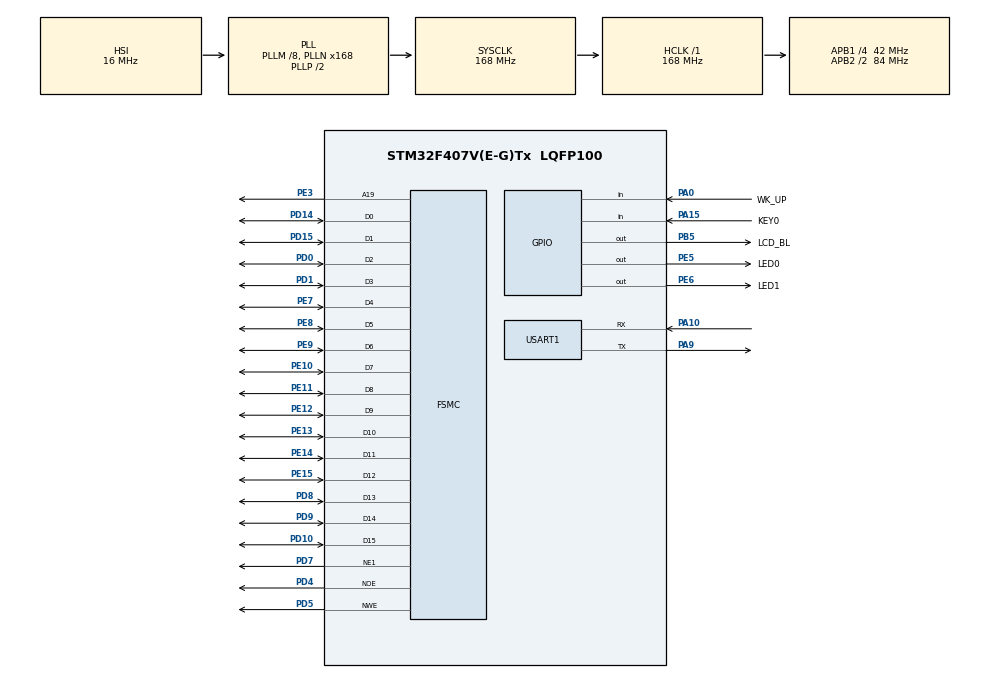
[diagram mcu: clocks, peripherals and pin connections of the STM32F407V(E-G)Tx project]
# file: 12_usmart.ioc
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FSMC.AddressSetupTime1=15
FSMC.BusTurnAroundDuration1=0
FSMC.DataSetupTime1=60
FSMC.ExtendedAddressSetupTime1=9
FSMC.ExtendedDataSetupTime1=9
FSMC.ExtendedMode1=FSMC_EXTENDED_MODE_ENABLE
Mcu.Family=STM32F4
Mcu.Name=STM32F407V(E-G)Tx
Mcu.Package=LQFP100
NVIC.PriorityGroup=NVIC_PRIORITYGROUP_2
NVIC.TIM4_IRQn=true\:2\:1\:true\:false\:true\:true\:true\:true
NVIC.USART1_IRQn=true\:2\:2\:true\:false\:true\:true\:true\:true
PA0-WKUP.GPIO_Label=WK_UP
PA0-WKUP.GPIO_PuPd=GPIO_PULLDOWN
PA0-WKUP.Signal=GPIO_Input
PA10.Mode=Asynchronous
PA10.Signal=USART1_RX
PA13.Mode=Serial_Wire
PA13.Signal=SYS_JTMS-SWDIO
PA14.Mode=Serial_Wire
PA14.Signal=SYS_JTCK-SWCLK
PA15.GPIO_Label=KEY0
PA15.GPIO_PuPd=GPIO_PULLDOWN
PA15.Signal=GPIO_Input
PA9.Mode=Asynchronous
PA9.Signal=USART1_TX
PB5.GPIO_Label=LCD_BL
PB5.GPIO_PuPd=GPIO_PULLUP
PB5.GPIO_Speed=GPIO_SPEED_FREQ_HIGH
PB5.PinState=GPIO_PIN_SET
PB5.Signal=GPIO_Output
PC14-OSC32_IN.Mode=LSE-External-Oscillator
PC14-OSC32_IN.Signal=RCC_OSC32_IN
PC15-OSC32_OUT.Mode=LSE-External-Oscillator
PC15-OSC32_OUT.Signal=RCC_OSC32_OUT
PD0.Mode=16b-d1
PD0.Signal=FSMC_D2
PD1.Mode=16b-d1
PD1.Signal=FSMC_D3
PD10.Mode=16b-d1
PD10.Signal=FSMC_D15
PD14.Mode=16b-d1
PD14.Signal=FSMC_D0
PD15.Mode=16b-d1
PD15.Signal=FSMC_D1
PD4.Mode=Lcd1
PD4.Signal=FSMC_NOE
PD5.Mode=Lcd1
PD5.Signal=FSMC_NWE
PD7.Mode=NorPsramChipSelect1_1
PD7.Signal=FSMC_NE1
PD8.Mode=16b-d1
PD8.Signal=FSMC_D13
PD9.Mode=16b-d1
PD9.Signal=FSMC_D14
PE10.Mode=16b-d1
PE10.Signal=FSMC_D7
PE11.Mode=16b-d1
PE11.Signal=FSMC_D8
PE12.Mode=16b-d1
PE12.Signal=FSMC_D9
PE13.Mode=16b-d1
PE13.Signal=FSMC_D10
PE14.Mode=16b-d1
PE14.Signal=FSMC_D11
PE15.Mode=16b-d1
PE15.Signal=FSMC_D12
PE3.Mode=A19_1
PE3.Signal=FSMC_A19
PE5.GPIO_Label=LED0
PE5.GPIO_PuPd=GPIO_PULLUP
PE5.GPIO_Speed=GPIO_SPEED_FREQ_HIGH
PE5.PinState=GPIO_PIN_SET
PE5.Signal=GPIO_Output
PE6.GPIO_Label=LED1
PE6.GPIO_PuPd=GPIO_PULLUP
PE6.GPIO_Speed=GPIO_SPEED_FREQ_HIGH
PE6.PinState=GPIO_PIN_SET
PE6.Signal=GPIO_Output
PE7.Mode=16b-d1
PE7.Signal=FSMC_D4
PE8.Mode=16b-d1
PE8.Signal=FSMC_D5
PE9.Mode=16b-d1
PE9.Signal=FSMC_D6
PH0-OSC_IN.Mode=HSE-External-Oscillator
PH0-OSC_IN.Signal=RCC_OSC_IN
PH1-OSC_OUT.Mode=HSE-External-Oscillator
PH1-OSC_OUT.Signal=RCC_OSC_OUT
ProjectManager.HeapSize=0x200
ProjectManager.StackSize=0x400
ProjectManager.TargetToolchain=STM32CubeIDE
RCC.48MHZClocksFreq_Value=84000000
RCC.AHBFreq_Value=168000000
RCC.APB1CLKDivider=RCC_HCLK_DIV4
RCC.APB1Freq_Value=42000000
RCC.APB1TimFreq_Value=84000000
RCC.APB2CLKDivider=RCC_HCLK_DIV2
RCC.APB2Freq_Value=84000000
RCC.APB2TimFreq_Value=168000000
RCC.CortexFreq_Value=168000000
RCC.HCLKFreq_Value=168000000
RCC.HSE_VALUE=25000000
RCC.HSI_VALUE=16000000
RCC.PLLM=8
RCC.PLLN=168
RCC.SYSCLKFreq_VALUE=168000000
RCC.SYSCLKSource=RCC_SYSCLKSOURCE_PLLCLK
RCC.VCOOutputFreq_Value=336000000
TIM4.AutoReloadPreload=TIM_AUTORELOAD_PRELOAD_ENABLE
TIM4.Period=1000
TIM4.Prescaler=8400-1
USART1.VirtualMode=VM_ASYNC
VP_TIM4_VS_ClockSourceINT.Mode=Internal
board=custom

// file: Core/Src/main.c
/**
 ****************************************************************************************************
 * @file        main.c
 * @author      ALIENTEK
 * @brief       usmart code
 * @license     Copyright (C) 2012-2024, ALIENTEK
 ****************************************************************************************************
 * @attention
 *
 * platform     : ALIENTEK M100-STM32F407 board
 * website      : www.alientek.com
 * forum        : www.openedv.com/forum.php
 *
 * change logs  :
 * version      data         notes
 * V1.0         20240409     the first version
 *
 ****************************************************************************************************
 */

/* USER CODE BEGIN Header */

/* USER CODE END Header */
#include "main.h"
#include "tim.h"
#include "usart.h"
#include "gpio.h"
#include "fsmc.h"

/* USER CODE BEGIN Includes */
#include "../../ATK_Middlewares/USMART/usmart.h"
#include "../../BSP/LED/led.h"
#include "../../BSP/KEY/key.h"
#include "../../BSP/LCD/lcd.h"
/* USER CODE END Includes */

/* USER CODE BEGIN PTD */
/* LED state setting function */
void led_set(uint8_t sta)
{
    LED1(sta);
}

/* Function arguments call the test function */
void test_fun(void(*ledset)(uint8_t), uint8_t sta)
{
    ledset(sta);
}
/* USER CODE END PTD */

/* USER CODE BEGIN PD */
/**
 * @brief   Displays information about the experiment
 * @param   None
 * @retval  None
 */
void stm32f407vg_show_mesg(void)
{
	/* The serial port outputs the experimental information */
	printf("\n");
	printf("********************************\r\n");
	printf("STM32F407\r\n");
	printf("USMART Test\r\n");
	printf("ATOM@ALIENTEK\r\n");
	printf("********************************\r\n");
	printf("\r\n");
}
/* USER CODE END PD */

void SystemClock_Config(void);

int main(void)
{

  /* MCU Configuration--------------------------------------------------------*/

  /* Reset of all peripherals, Initializes the Flash interface and the Systick. */
  HAL_Init();

  /* Configure the system clock */
  SystemClock_Config();

  /* Initialize all configured peripherals */
  MX_GPIO_Init();
  MX_USART1_UART_Init();
  MX_FSMC_Init();
  MX_TIM4_Init();
  /* USER CODE BEGIN 2 */
  lcd_init();                                         /* Initialize LCD */
  stm32f407vg_show_mesg();
  lcd_show_string(30, 50, 200, 16, 16, "STM32", RED);
  lcd_show_string(30, 70, 200, 16, 16, "USMART TEST", RED);
  lcd_show_string(30, 90, 200, 16, 16, "ATOM@ALIENTEK", RED);
  /* USER CODE END 2 */

  /* Infinite loop */
  /* USER CODE BEGIN WHILE */
  while (1)
  {
	LED0_TOGGLE();             /* flashing LED0 indicates that the system is running */
	HAL_Delay(1000);   		 /* delay 1000ms */
    /* USER CODE END WHILE */

  }
}

void SystemClock_Config(void)
{
  RCC_OscInitTypeDef RCC_OscInitStruct = {0};
  RCC_ClkInitTypeDef RCC_ClkInitStruct = {0};

  /** Configure the main internal regulator output voltage
  */
  __HAL_RCC_PWR_CLK_ENABLE();
  __HAL_PWR_VOLTAGESCALING_CONFIG(PWR_REGULATOR_VOLTAGE_SCALE1);

  /** Initializes the RCC Oscillators according to the specified parameters
  * in the RCC_OscInitTypeDef structure.
  */
  RCC_OscInitStruct.OscillatorType = RCC_OSCILLATORTYPE_HSI;
  RCC_OscInitStruct.HSIState = RCC_HSI_ON;
  RCC_OscInitStruct.HSICalibrationValue = RCC_HSICALIBRATION_DEFAULT;
  RCC_OscInitStruct.PLL.PLLState = RCC_PLL_ON;
  RCC_OscInitStruct.PLL.PLLSource = RCC_PLLSOURCE_HSI;
  RCC_OscInitStruct.PLL.PLLM = 8;
  RCC_OscInitStruct.PLL.PLLN = 168;
  RCC_OscInitStruct.PLL.PLLP = RCC_PLLP_DIV2;
  RCC_OscInitStruct.PLL.PLLQ = 4;
  if (HAL_RCC_OscConfig(&RCC_OscInitStruct) != HAL_OK)
  {
    Error_Handler();
  }

  /** Initializes the CPU, AHB and APB buses clocks
  */
  RCC_ClkInitStruct.ClockType = RCC_CLOCKTYPE_HCLK|RCC_CLOCKTYPE_SYSCLK
                              |RCC_CLOCKTYPE_PCLK1|RCC_CLOCKTYPE_PCLK2;
  RCC_ClkInitStruct.SYSCLKSource = RCC_SYSCLKSOURCE_PLLCLK;
  RCC_ClkInitStruct.AHBCLKDivider = RCC_SYSCLK_DIV1;
  RCC_ClkInitStruct.APB1CLKDivider = RCC_HCLK_DIV4;
  RCC_ClkInitStruct.APB2CLKDivider = RCC_HCLK_DIV2;

  if (HAL_RCC_ClockConfig(&RCC_ClkInitStruct, FLASH_LATENCY_5) != HAL_OK)
  {
    Error_Handler();
  }
}

void Error_Handler(void)
{
  __disable_irq();
  while (1)
  {
  }
}
